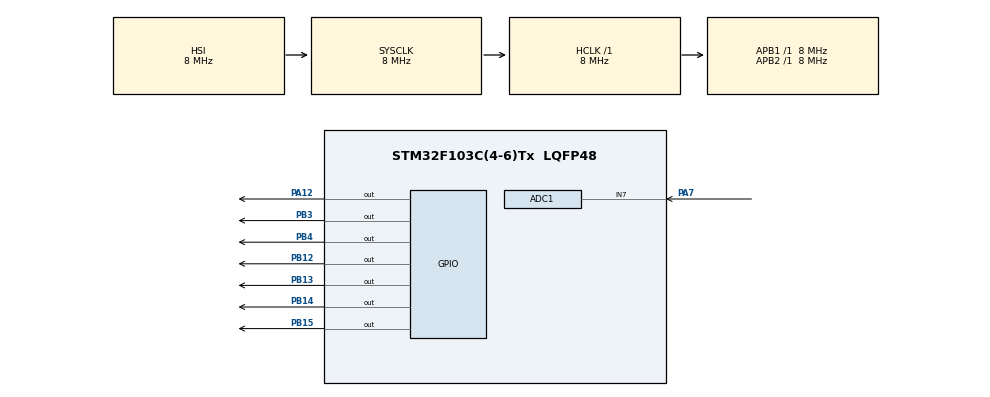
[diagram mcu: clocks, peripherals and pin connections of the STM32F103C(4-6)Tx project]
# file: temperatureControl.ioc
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Mcu.Family=STM32F1
PD1-OSC_OUT.Mode=HSE-External-Oscillator
ADC1.Channel-4\#ChannelRegularConversion=ADC_CHANNEL_7
PD0-OSC_IN.Signal=RCC_OSC_IN
VP_SYS_VS_ND.Mode=No_Debug
PB15.Signal=GPIO_Output
PB13.Signal=GPIO_Output
ProjectManager.StackSize=0x400
PD1-OSC_OUT.Signal=RCC_OSC_OUT
PA12.Signal=GPIO_Output
ProjectManager.TargetToolchain=STM32CubeIDE
SH.ADCx_IN7.0=ADC1_IN7,IN7
RCC.HCLKFreq_Value=8000000
RCC.APB2TimFreq_Value=8000000
RCC.USBFreq_Value=8000000
RCC.AHBFreq_Value=8000000
PD0-OSC_IN.Mode=HSE-External-Oscillator
PB14.Signal=GPIO_Output
board=custom
ADC1.SamplingTime-4\#ChannelRegularConversion=ADC_SAMPLETIME_1CYCLE_5
RCC.APB2Freq_Value=8000000
Mcu.Name=STM32F103C(4-6)Tx
PB3.Signal=GPIO_Output
RCC.SYSCLKFreq_VALUE=8000000
Mcu.Package=LQFP48
ADC1.master=1
ProjectManager.HeapSize=0x200
NVIC.PriorityGroup=NVIC_PRIORITYGROUP_4
ADC1.NbrOfConversionFlag=1
RCC.APB1TimFreq_Value=8000000
RCC.APB1Freq_Value=8000000
PB12.Signal=GPIO_Output
ADC1.Rank-4\#ChannelRegularConversion=1
PB4.Signal=GPIO_Output
PA7.Signal=ADCx_IN7

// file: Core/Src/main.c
/* USER CODE BEGIN Header */
/**
  ******************************************************************************
  * @file           : main.c
  * @brief          : Main program body
  ******************************************************************************
  * @attention
  *
  * <h2><center>&copy; Copyright (c) 2021 STMicroelectronics.
  * All rights reserved.</center></h2>
  *
  * This software component is licensed by ST under BSD 3-Clause license,
  * the "License"; You may not use this file except in compliance with the
  * License. You may obtain a copy of the License at:
  *                        opensource.org/licenses/BSD-3-Clause
  *
  ******************************************************************************
  */
/* USER CODE END Header */
#include "main.h"

/* USER CODE BEGIN Includes */
#include "stdio.h"
#include "../../ECUAL/LCD16x2/LCD16x2.h"
#include "../../ECUAL/LM35/LM35.h"
/* USER CODE END Includes */

ADC_HandleTypeDef hadc1;

void SystemClock_Config(void);
static void MX_GPIO_Init(void);
static void MX_ADC1_Init(void);

int main(void)
{
  /* USER CODE BEGIN 1 */
	float Temp = 0;
	char* MSG[16] = {0};
	int x;
  /* USER CODE END 1 */

  /* MCU Configuration--------------------------------------------------------*/

  /* Reset of all peripherals, Initializes the Flash interface and the Systick. */
  HAL_Init();

  /* Configure the system clock */
  SystemClock_Config();

  /* Initialize all configured peripherals */
  MX_GPIO_Init();
  MX_ADC1_Init();
  /* USER CODE BEGIN 2 */
  LCD_Init();
  LCD_Clear();
  LCD_Set_Cursor(1, 1);
  LCD_Write_String("Temperature Is:");
  LM35_Init(0);
  /* USER CODE END 2 */

  /* Infinite loop */
  while (1)
  {

    /* USER CODE BEGIN 3 */
	  HAL_ADC_Start(&hadc1);
	  HAL_Delay(100);
	  x = HAL_ADC_GetValue(&hadc1);
	  if(x > 620)
	  	 HAL_GPIO_WritePin(GPIOA, GPIO_PIN_12, 1);
	  else
	  	 HAL_GPIO_WritePin(GPIOA, GPIO_PIN_12, 0);
	  Temp = LM35_Read(0);
	  sprintf(MSG, "%.3f C", Temp);
	  LCD_Set_Cursor(2, 1);
	  LCD_Write_String(MSG);
	  HAL_Delay(100);
  }
  /* USER CODE END 3 */
}

void SystemClock_Config(void)
{
  RCC_OscInitTypeDef RCC_OscInitStruct = {0};
  RCC_ClkInitTypeDef RCC_ClkInitStruct = {0};
  RCC_PeriphCLKInitTypeDef PeriphClkInit = {0};

  /** Initializes the RCC Oscillators according to the specified parameters
  * in the RCC_OscInitTypeDef structure.
  */
  RCC_OscInitStruct.OscillatorType = RCC_OSCILLATORTYPE_HSI;
  RCC_OscInitStruct.HSIState = RCC_HSI_ON;
  RCC_OscInitStruct.HSICalibrationValue = RCC_HSICALIBRATION_DEFAULT;
  RCC_OscInitStruct.PLL.PLLState = RCC_PLL_NONE;
  if (HAL_RCC_OscConfig(&RCC_OscInitStruct) != HAL_OK)
  {
    Error_Handler();
  }
  /** Initializes the CPU, AHB and APB buses clocks
  */
  RCC_ClkInitStruct.ClockType = RCC_CLOCKTYPE_HCLK|RCC_CLOCKTYPE_SYSCLK
                              |RCC_CLOCKTYPE_PCLK1|RCC_CLOCKTYPE_PCLK2;
  RCC_ClkInitStruct.SYSCLKSource = RCC_SYSCLKSOURCE_HSI;
  RCC_ClkInitStruct.AHBCLKDivider = RCC_SYSCLK_DIV1;
  RCC_ClkInitStruct.APB1CLKDivider = RCC_HCLK_DIV1;
  RCC_ClkInitStruct.APB2CLKDivider = RCC_HCLK_DIV1;

  if (HAL_RCC_ClockConfig(&RCC_ClkInitStruct, FLASH_LATENCY_0) != HAL_OK)
  {
    Error_Handler();
  }
  PeriphClkInit.PeriphClockSelection = RCC_PERIPHCLK_ADC;
  PeriphClkInit.AdcClockSelection = RCC_ADCPCLK2_DIV2;
  if (HAL_RCCEx_PeriphCLKConfig(&PeriphClkInit) != HAL_OK)
  {
    Error_Handler();
  }
}

static void MX_ADC1_Init(void)
{

  ADC_ChannelConfTypeDef sConfig = {0};

  /** Common config
  */
  hadc1.Instance = ADC1;
  hadc1.Init.ScanConvMode = ADC_SCAN_DISABLE;
  hadc1.Init.ContinuousConvMode = DISABLE;
  hadc1.Init.DiscontinuousConvMode = DISABLE;
  hadc1.Init.ExternalTrigConv = ADC_SOFTWARE_START;
  hadc1.Init.DataAlign = ADC_DATAALIGN_RIGHT;
  hadc1.Init.NbrOfConversion = 1;
  if (HAL_ADC_Init(&hadc1) != HAL_OK)
  {
    Error_Handler();
  }
  /** Configure Regular Channel
  */
  sConfig.Channel = ADC_CHANNEL_7;
  sConfig.Rank = ADC_REGULAR_RANK_1;
  sConfig.SamplingTime = ADC_SAMPLETIME_1CYCLE_5;
  if (HAL_ADC_ConfigChannel(&hadc1, &sConfig) != HAL_OK)
  {
    Error_Handler();
  }

}

static void MX_GPIO_Init(void)
{
  GPIO_InitTypeDef GPIO_InitStruct = {0};

  /* GPIO Ports Clock Enable */
  __HAL_RCC_GPIOD_CLK_ENABLE();
  __HAL_RCC_GPIOA_CLK_ENABLE();
  __HAL_RCC_GPIOB_CLK_ENABLE();

  /*Configure GPIO pin Output Level */
  HAL_GPIO_WritePin(GPIOB, GPIO_PIN_12|GPIO_PIN_13|GPIO_PIN_14|GPIO_PIN_15
                          |GPIO_PIN_3|GPIO_PIN_4, GPIO_PIN_RESET);

  /*Configure GPIO pin Output Level */
  HAL_GPIO_WritePin(GPIOA, GPIO_PIN_12, GPIO_PIN_RESET);

  /*Configure GPIO pins : PB12 PB13 PB14 PB15
                           PB3 PB4 */
  GPIO_InitStruct.Pin = GPIO_PIN_12|GPIO_PIN_13|GPIO_PIN_14|GPIO_PIN_15
                          |GPIO_PIN_3|GPIO_PIN_4;
  GPIO_InitStruct.Mode = GPIO_MODE_OUTPUT_PP;
  GPIO_InitStruct.Pull = GPIO_NOPULL;
  GPIO_InitStruct.Speed = GPIO_SPEED_FREQ_LOW;
  HAL_GPIO_Init(GPIOB, &GPIO_InitStruct);

  /*Configure GPIO pin : PA12 */
  GPIO_InitStruct.Pin = GPIO_PIN_12;
  GPIO_InitStruct.Mode = GPIO_MODE_OUTPUT_PP;
  GPIO_InitStruct.Pull = GPIO_NOPULL;
  GPIO_InitStruct.Speed = GPIO_SPEED_FREQ_LOW;
  HAL_GPIO_Init(GPIOA, &GPIO_InitStruct);

}

void Error_Handler(void)
{
  __disable_irq();
  while (1)
  {
  }
}

/************************ (C) COPYRIGHT STMicroelectronics *****END OF FILE****/
